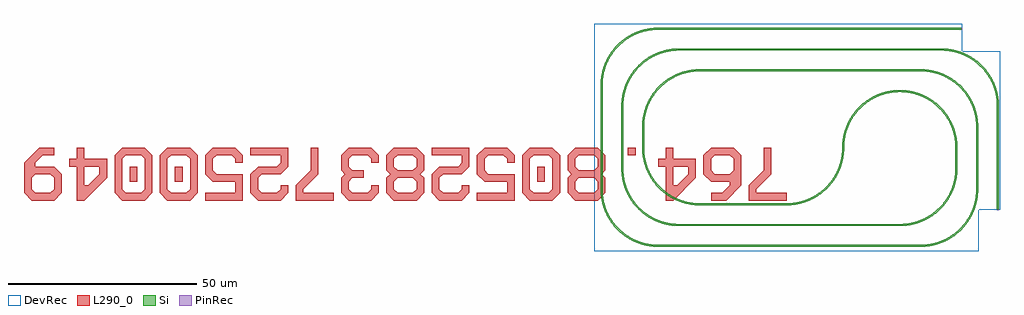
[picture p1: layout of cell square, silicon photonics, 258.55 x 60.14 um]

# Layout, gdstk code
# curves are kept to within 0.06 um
from math import pi, radians
import gdstk
lib = gdstk.Library(unit=1e-6, precision=1e-09)
def R(c, l, rs):  # rectangles x0, y0, x1, y1
    for r in rs: c.add(gdstk.rectangle(r[:2], r[2:], *l))
def P(c, l, *ps):  # polygons
    for p in ps: c.add(gdstk.Polygon(p, *l))
Si = (1, 0)
PinRec = (1, 10)
DevRec = (68, 0)
L290_0 = (290, 0)

square = lib.new_cell('Square')
R(square, Si, [(-46.5,-31.75,34,-31.25), (-41,-26.25,28.5,-25.75), (-35.5,-20.75,23,-20.25), (48.75,-16.5,49.25,11), (-56.25,-11,-55.75,16.5), (43.25,-11,43.75,5.5), (-50.75,-5.5,-50.25,11), (37.75,-5.5,38.25,0), (-45.25,0,-44.75,5.5), (0,14.75,23,15.25), (-30,20.25,28.5,20.75), (-35.5,25.75,34,26.25)])
P(square, Si, [(-15.25,0),(-15.178,1.483),(-14.961,2.952),(-14.603,4.394),(-14.107,5.793),(-13.477,7.138),(-12.718,8.414),(-11.84,9.612),(-10.849,10.718),(-9.755,11.722),(-8.569,12.615),(-7.138,13.477),(-5.793,14.107),(-4.394,14.603),(-2.952,14.961),(-1.483,15.178),(0,15.25),(0,14.75),(-1.613,14.662),(-3.032,14.435),(-4.592,14.017),(-6.098,13.431),(-7.219,12.863),(-8.436,12.1),(-9.435,11.338),(-10.366,10.493),(-11.222,9.573),(-12.1,8.436),(-12.863,7.219),(-13.431,6.098),(-14.017,4.592),(-14.435,3.032),(-14.662,1.613),(-14.75,0)],
  [(-30,-15.25),(-30,-14.75),(-28.387,-14.662),(-26.968,-14.435),(-25.408,-14.017),(-23.902,-13.431),(-22.781,-12.863),(-21.564,-12.1),(-20.565,-11.338),(-19.634,-10.493),(-18.778,-9.573),(-17.9,-8.436),(-17.137,-7.219),(-16.569,-6.098),(-15.983,-4.592),(-15.565,-3.032),(-15.338,-1.613),(-15.25,0),(-14.75,0),(-14.822,-1.483),(-15.039,-2.952),(-15.397,-4.394),(-15.893,-5.793),(-16.523,-7.138),(-17.282,-8.414),(-18.16,-9.612),(-19.151,-10.718),(-20.245,-11.722),(-21.431,-12.615),(-22.862,-13.477),(-24.207,-14.107),(-25.606,-14.603),(-27.048,-14.961),(-28.517,-15.178)],
  [(23,-20.75),(23,-20.25),(24.613,-20.162),(26.032,-19.935),(27.592,-19.517),(29.098,-18.931),(30.219,-18.363),(31.436,-17.6),(32.435,-16.838),(33.366,-15.993),(34.222,-15.073),(35.1,-13.936),(35.863,-12.719),(36.431,-11.598),(37.017,-10.092),(37.435,-8.532),(37.662,-7.113),(37.75,-5.5),(38.25,-5.5),(38.178,-6.983),(37.961,-8.452),(37.603,-9.894),(37.107,-11.293),(36.477,-12.638),(35.718,-13.914),(34.84,-15.112),(33.849,-16.218),(32.755,-17.222),(31.569,-18.115),(30.138,-18.977),(28.793,-19.607),(27.394,-20.103),(25.952,-20.461),(24.483,-20.678)],
  [(28.5,-26.25),(28.5,-25.75),(30.113,-25.662),(31.532,-25.435),(33.092,-25.017),(34.598,-24.431),(35.719,-23.863),(36.936,-23.1),(37.935,-22.338),(38.866,-21.493),(39.722,-20.573),(40.6,-19.436),(41.363,-18.219),(41.931,-17.098),(42.517,-15.592),(42.935,-14.032),(43.162,-12.613),(43.25,-11),(43.75,-11),(43.678,-12.483),(43.461,-13.952),(43.103,-15.394),(42.607,-16.793),(41.977,-18.138),(41.218,-19.414),(40.34,-20.612),(39.349,-21.718),(38.255,-22.722),(37.069,-23.615),(35.638,-24.477),(34.293,-25.107),(32.894,-25.603),(31.452,-25.961),(29.983,-26.178)],
  [(34,-31.75),(34,-31.25),(35.613,-31.162),(37.032,-30.935),(38.592,-30.517),(40.098,-29.931),(41.219,-29.363),(42.436,-28.6),(43.435,-27.838),(44.366,-26.993),(45.222,-26.073),(46.1,-24.936),(46.863,-23.719),(47.431,-22.598),(48.017,-21.092),(48.435,-19.532),(48.662,-18.113),(48.75,-16.5),(49.25,-16.5),(49.178,-17.983),(48.961,-19.452),(48.603,-20.894),(48.107,-22.293),(47.477,-23.638),(46.718,-24.914),(45.84,-26.112),(44.849,-27.218),(43.755,-28.222),(42.569,-29.115),(41.138,-29.977),(39.793,-30.607),(38.394,-31.103),(36.952,-31.461),(35.483,-31.678)],
  [(37.75,0),(37.68,1.435),(37.505,2.679),(37.175,4.077),(36.712,5.437),(36.118,6.744),(35.4,7.988),(34.564,9.156),(33.619,10.238),(32.573,11.222),(31.582,11.996),(30.375,12.774),(29.261,13.355),(27.762,13.96),(26.207,14.397),(24.613,14.662),(23,14.75),(23,15.25),(24.668,15.159),(26.134,14.924),(27.571,14.549),(28.964,14.035),(30.464,13.299),(31.722,12.51),(32.897,11.602),(33.979,10.585),(34.956,9.467),(35.92,8.102),(36.728,6.641),(37.372,5.099),(37.924,3.134),(38.209,1.113),(38.25,0)],
  [(43.25,5.5),(43.18,6.935),(43.005,8.179),(42.675,9.577),(42.212,10.937),(41.618,12.244),(40.9,13.488),(40.064,14.656),(39.119,15.738),(38.073,16.722),(37.082,17.496),(35.875,18.274),(34.761,18.855),(33.262,19.46),(31.707,19.897),(30.113,20.162),(28.5,20.25),(28.5,20.75),(30.168,20.659),(31.634,20.424),(33.071,20.049),(34.464,19.535),(35.964,18.799),(37.222,18.01),(38.397,17.102),(39.479,16.085),(40.456,14.967),(41.42,13.602),(42.228,12.141),(42.872,10.599),(43.424,8.634),(43.709,6.613),(43.75,5.5)],
  [(48.75,11),(48.68,12.435),(48.505,13.679),(48.175,15.077),(47.712,16.437),(47.118,17.744),(46.4,18.988),(45.564,20.156),(44.619,21.238),(43.573,22.222),(42.582,22.996),(41.375,23.774),(40.261,24.355),(38.762,24.96),(37.207,25.397),(35.613,25.662),(34,25.75),(34,26.25),(35.668,26.159),(37.134,25.924),(38.571,25.549),(39.964,25.035),(41.464,24.299),(42.722,23.51),(43.897,22.602),(44.979,21.585),(45.956,20.467),(46.92,19.102),(47.728,17.641),(48.372,16.099),(48.924,14.134),(49.209,12.113),(49.25,11)],
  [(-45.25,5.5),(-45.178,6.983),(-44.961,8.452),(-44.603,9.894),(-44.107,11.293),(-43.477,12.638),(-42.718,13.914),(-41.84,15.112),(-40.849,16.218),(-39.755,17.222),(-38.569,18.115),(-37.138,18.977),(-35.793,19.607),(-34.394,20.103),(-32.952,20.461),(-31.483,20.678),(-30,20.75),(-30,20.25),(-31.613,20.162),(-33.032,19.935),(-34.592,19.517),(-36.098,18.931),(-37.219,18.363),(-38.436,17.6),(-39.435,16.838),(-40.366,15.993),(-41.222,15.073),(-42.1,13.936),(-42.863,12.719),(-43.431,11.598),(-44.017,10.092),(-44.435,8.532),(-44.662,7.113),(-44.75,5.5)],
  [(-50.75,11),(-50.678,12.483),(-50.461,13.952),(-50.103,15.394),(-49.607,16.793),(-48.977,18.138),(-48.218,19.414),(-47.34,20.612),(-46.349,21.718),(-45.255,22.722),(-44.069,23.615),(-42.638,24.477),(-41.293,25.107),(-39.894,25.603),(-38.452,25.961),(-36.983,26.178),(-35.5,26.25),(-35.5,25.75),(-37.113,25.662),(-38.532,25.435),(-40.092,25.017),(-41.598,24.431),(-42.719,23.863),(-43.936,23.1),(-44.935,22.338),(-45.866,21.493),(-46.722,20.573),(-47.6,19.436),(-48.363,18.219),(-48.931,17.098),(-49.517,15.592),(-49.935,14.032),(-50.162,12.613),(-50.25,11)],
  [(-30,-15.25),(-31.483,-15.178),(-32.952,-14.961),(-34.394,-14.603),(-35.793,-14.107),(-37.138,-13.477),(-38.414,-12.718),(-39.612,-11.84),(-40.718,-10.849),(-41.722,-9.755),(-42.615,-8.569),(-43.477,-7.138),(-44.107,-5.793),(-44.603,-4.394),(-44.961,-2.952),(-45.178,-1.483),(-45.25,0),(-44.75,0),(-44.662,-1.613),(-44.435,-3.032),(-44.017,-4.592),(-43.431,-6.098),(-42.863,-7.219),(-42.1,-8.436),(-41.338,-9.435),(-40.493,-10.366),(-39.573,-11.222),(-38.436,-12.1),(-37.219,-12.863),(-36.098,-13.431),(-34.592,-14.017),(-33.032,-14.435),(-31.613,-14.662),(-30,-14.75)],
  [(-35.5,-20.75),(-36.983,-20.678),(-38.452,-20.461),(-39.894,-20.103),(-41.293,-19.607),(-42.638,-18.977),(-43.914,-18.218),(-45.112,-17.34),(-46.218,-16.349),(-47.222,-15.255),(-48.115,-14.069),(-48.977,-12.638),(-49.607,-11.293),(-50.103,-9.894),(-50.461,-8.452),(-50.678,-6.983),(-50.75,-5.5),(-50.25,-5.5),(-50.162,-7.113),(-49.935,-8.532),(-49.517,-10.092),(-48.931,-11.598),(-48.363,-12.719),(-47.6,-13.936),(-46.838,-14.935),(-45.993,-15.866),(-45.073,-16.722),(-43.936,-17.6),(-42.719,-18.363),(-41.598,-18.931),(-40.092,-19.517),(-38.532,-19.935),(-37.113,-20.162),(-35.5,-20.25)],
  [(-41,-26.25),(-42.483,-26.178),(-43.952,-25.961),(-45.394,-25.603),(-46.793,-25.107),(-48.138,-24.477),(-49.414,-23.718),(-50.612,-22.84),(-51.718,-21.849),(-52.722,-20.755),(-53.615,-19.569),(-54.477,-18.138),(-55.107,-16.793),(-55.603,-15.394),(-55.961,-13.952),(-56.178,-12.483),(-56.25,-11),(-55.75,-11),(-55.662,-12.613),(-55.435,-14.032),(-55.017,-15.592),(-54.431,-17.098),(-53.863,-18.219),(-53.1,-19.436),(-52.338,-20.435),(-51.493,-21.366),(-50.573,-22.222),(-49.436,-23.1),(-48.219,-23.863),(-47.098,-24.431),(-45.592,-25.017),(-44.032,-25.435),(-42.613,-25.662),(-41,-25.75)])
R(square, L290_0, [(40,0,42,2), (64,5,66,9), (160,5,162,9), (172,5,174,9)])
P(square, L290_0, [(4,0),(4,7),(8,11),(8,12),(0,12),(0,14),(10,14),(10,10),(6,6),(6,0)],
  [(14,0),(12,2),(12,10),(16,14),(20,14),(20,12),(17,12),(15,10),(15,9),(20,9),(22,7),(15,7),(14,6),(14,3),(15,2),(19,2),(20,3),(20,6),(19,7),(22,7),(22,2),(20,0)],
  [(30,0),(30,3),(24,3),(24,5),(30,5),(30,10),(29,10),(26,7),(26,5),(24,5),(24,8),(30,14),(32,14),(32,5),(34,5),(34,3),(32,3),(32,0)],
  [(50,0),(48,2),(48,6),(49,7),(48,8),(48,12),(50,14),(56,14),(58,12),(51,12),(50,11),(50,9),(51,8),(55,8),(56,9),(56,11),(55,12),(58,12),(58,8),(57,7),(58,6),(51,6),(50,5),(50,3),(51,2),(55,2),(56,3),(56,5),(55,6),(58,6),(58,2),(56,0)],
  [(62,0),(60,2),(60,12),(62,14),(68,14),(70,12),(63,12),(62,11),(62,3),(63,2),(67,2),(68,3),(68,11),(67,12),(70,12),(70,2),(68,0)],
  [(74,0),(72,2),(72,4),(74,4),(74,3),(75,2),(79,2),(80,3),(80,6),(79,7),(72,7),(72,14),(82,14),(82,12),(74,12),(74,9),(80,9),(82,7),(82,2),(80,0)],
  [(84,0),(84,5),(86,7),(91,7),(92,8),(92,11),(91,12),(87,12),(86,11),(86,10),(84,10),(84,12),(86,14),(92,14),(94,12),(94,7),(92,5),(87,5),(86,4),(86,2),(94,2),(94,0)],
  [(98,0),(96,2),(96,6),(97,7),(96,8),(96,12),(98,14),(104,14),(106,12),(99,12),(98,11),(98,9),(99,8),(103,8),(104,9),(104,11),(103,12),(106,12),(106,8),(105,7),(106,6),(99,6),(98,5),(98,3),(99,2),(103,2),(104,3),(104,5),(103,6),(106,6),(106,2),(104,0)],
  [(110,0),(108,2),(108,4),(110,4),(110,3),(111,2),(115,2),(116,3),(116,5),(115,6),(112,6),(112,8),(115,8),(116,9),(116,11),(115,12),(111,12),(110,11),(110,10),(108,10),(108,12),(110,14),(116,14),(118,12),(118,8),(117,7),(118,6),(118,2),(116,0)],
  [(124,0),(124,7),(128,11),(128,12),(120,12),(120,14),(130,14),(130,10),(126,6),(126,0)],
  [(132,0),(132,5),(134,7),(139,7),(140,8),(140,11),(139,12),(135,12),(134,11),(134,10),(132,10),(132,12),(134,14),(140,14),(142,12),(142,7),(140,5),(135,5),(134,4),(134,2),(142,2),(142,0)],
  [(146,0),(144,2),(144,4),(146,4),(146,3),(147,2),(151,2),(152,3),(152,6),(151,7),(144,7),(144,14),(154,14),(154,12),(146,12),(146,9),(152,9),(154,7),(154,2),(152,0)],
  [(158,0),(156,2),(156,12),(158,14),(164,14),(166,12),(159,12),(158,11),(158,3),(159,2),(163,2),(164,3),(164,11),(163,12),(166,12),(166,2),(164,0)],
  [(170,0),(168,2),(168,12),(170,14),(176,14),(178,12),(171,12),(170,11),(170,3),(171,2),(175,2),(176,3),(176,11),(175,12),(178,12),(178,2),(176,0)],
  [(186,0),(186,3),(180,3),(180,5),(186,5),(186,10),(185,10),(182,7),(182,5),(180,5),(180,8),(186,14),(188,14),(188,5),(190,5),(190,3),(188,3),(188,0)],
  [(194,0),(194,2),(197,2),(199,4),(199,5),(194,5),(192,7),(199,7),(200,8),(200,11),(199,12),(195,12),(194,11),(194,8),(195,7),(192,7),(192,12),(194,14),(200,14),(202,12),(202,4),(198,0)])
square.add(gdstk.FlexPath([(-46.45,-31.5),(-46.55,-31.5)], 0.5, ends="flush", simple_path=True, layer=1, datatype=10))  # PinRec
square.add(gdstk.FlexPath([(-56,16.45),(-56,16.55)], 0.5, ends="flush", simple_path=True, layer=1, datatype=10))  # PinRec
square.add(gdstk.Label('pin1', (-46.5,-31.5), layer=1, texttype=10))
square.add(gdstk.Label('pin2', (-56,16.5), layer=1, texttype=10))

c_square = lib.new_cell('square')
P(c_square, DevRec, [(21.88,-30.13),(21.88,30.01),(119.37,30.01),(119.37,28.75),(119.375,28.75),(119.375,22.77),(129.42,22.77),(129.42,-19.25),(123.78,-19.25),(123.78,-30.13)])
c_square.add(gdstk.Reference(square, (72.875,-2.75), rotation=pi))

lib.write_gds('square.gds')
